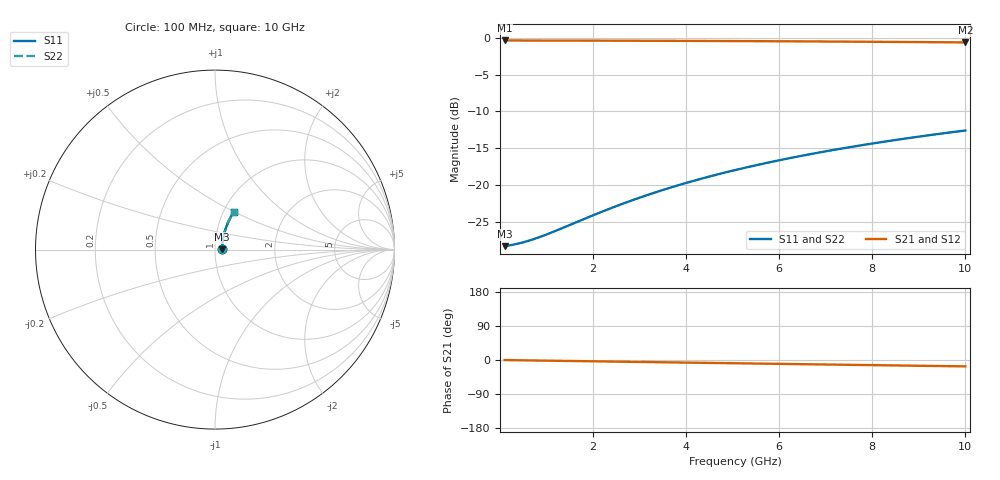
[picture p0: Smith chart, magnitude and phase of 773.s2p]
# Hz S RI R 50.00
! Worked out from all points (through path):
!   100 points, 100 MHz to 10 GHz, reference 50 ohm
!   highest |S21| = -0.34 dB at 100 MHz (marker M1); lowest = -0.6 dB at 10 GHz (marker M2)
!   group delay of S21, straight-line fit = 4.68 ps
!   lowest |S11| = -28.3 dB at 100 MHz (marker M3), VSWR 1.08, Z = 54 + j0.246 ohm
!   |S11| at or under -10 dB: start of sweep to end of sweep
!   |S22| runs from -28.3 to -12.6 dB; largest |S21 - S12| = 0
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1e8  0.0383 0.00228  0.9617 -0.00288  0.9617 -0.00288  0.0383 0.00228
3e8  0.0388 0.00683  0.9612 -0.00863  0.9612 -0.00863  0.0388 0.00683
4e8  0.039 0.0091  0.961 -0.0115  0.961 -0.0115  0.039 0.0091
6e8  0.0393 0.0136  0.9607 -0.0172  0.9607 -0.0172  0.0393 0.0136
8e8  0.0397 0.0182  0.9603 -0.023  0.9603 -0.023  0.0397 0.0182
1.2e9  0.0405 0.0272  0.9595 -0.0344  0.9595 -0.0344  0.0405 0.0272
1.8e9  0.042 0.0408  0.9579 -0.0516  0.9579 -0.0516  0.042 0.0408
2.2e9  0.0433 0.0497  0.9566 -0.063  0.9566 -0.063  0.0433 0.0497
2.6e9  0.0447 0.0587  0.9551 -0.0743  0.9551 -0.0743  0.0447 0.0587
3e9  0.0464 0.0676  0.9534 -0.0856  0.9534 -0.0856  0.0464 0.0676
3.4e9  0.0482 0.0764  0.9516 -0.0969  0.9516 -0.0969  0.0482 0.0764
3.8e9  0.0502 0.0852  0.9495 -0.108  0.9495 -0.108  0.0502 0.0852
4.2e9  0.0525 0.0939  0.9472 -0.1192  0.9472 -0.1192  0.0525 0.0939
4.6e9  0.0549 0.1026  0.9447 -0.1302  0.9447 -0.1302  0.0549 0.1026
5.1e9  0.0582 0.1133  0.9413 -0.1439  0.9413 -0.1439  0.0582 0.1133
5.5e9  0.0611 0.1217  0.9384 -0.1548  0.9384 -0.1548  0.0611 0.1217
5.9e9  0.0641 0.1301  0.9352 -0.1656  0.9352 -0.1656  0.0641 0.1301
6.7e9  0.0708 0.1466  0.9284 -0.1869  0.9284 -0.1869  0.0708 0.1466
7.5e9  0.0781 0.1627  0.9208 -0.2078  0.9208 -0.2078  0.0781 0.1627
8.4e9  0.0872 0.1802  0.9114 -0.2308  0.9114 -0.2308  0.0872 0.1802
9.2e9  0.096 0.1952  0.9024 -0.2507  0.9024 -0.2507  0.096 0.1952
1e10  0.1054 0.2098  0.8927 -0.2701  0.8927 -0.2701  0.1054 0.2098
